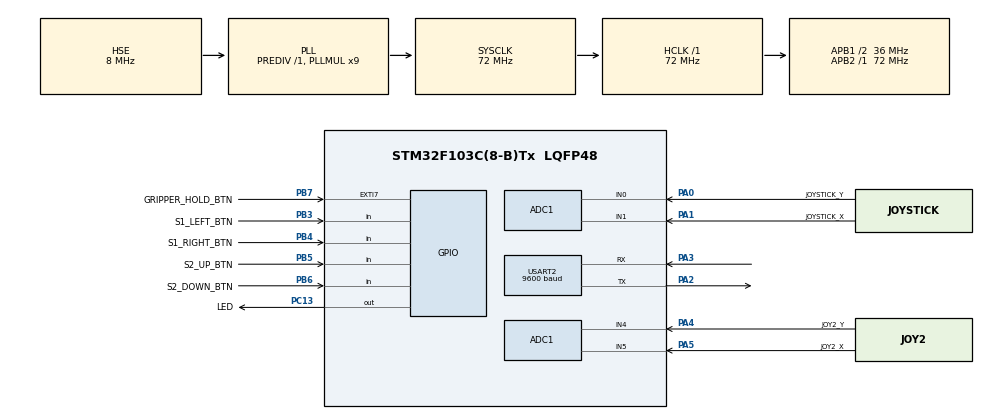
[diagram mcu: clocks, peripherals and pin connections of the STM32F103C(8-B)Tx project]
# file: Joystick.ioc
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ADC1.Channel-0\#ChannelRegularConversion=ADC_CHANNEL_1
ADC1.NbrOfConversionFlag=1
ADC1.Rank-0\#ChannelRegularConversion=1
ADC1.SamplingTime-0\#ChannelRegularConversion=ADC_SAMPLETIME_1CYCLE_5
ADC1.master=1
Mcu.Family=STM32F1
Mcu.Name=STM32F103C(8-B)Tx
Mcu.Package=LQFP48
NVIC.EXTI9_5_IRQn=true\:0\:0\:false\:false\:true\:true\:true\:true
NVIC.PriorityGroup=NVIC_PRIORITYGROUP_4
NVIC.USART2_IRQn=true\:0\:0\:false\:false\:true\:true\:true\:true
PA0-WKUP.GPIO_Label=JOYSTICK_Y
PA0-WKUP.Signal=ADCx_IN0
PA1.GPIO_Label=JOYSTICK_X
PA1.Signal=ADCx_IN1
PA13.Mode=Serial_Wire
PA13.Signal=SYS_JTMS-SWDIO
PA14.Mode=Serial_Wire
PA14.Signal=SYS_JTCK-SWCLK
PA2.Mode=Asynchronous
PA2.Signal=USART2_TX
PA3.Mode=Asynchronous
PA3.Signal=USART2_RX
PA4.GPIO_Label=JOY2_Y
PA4.Signal=ADCx_IN4
PA5.GPIO_Label=JOY2_X
PA5.Signal=ADCx_IN5
PB3.GPIO_Label=S1_LEFT_BTN
PB3.GPIO_PuPd=GPIO_PULLUP
PB3.Signal=GPIO_Input
PB4.GPIO_Label=S1_RIGHT_BTN
PB4.GPIO_PuPd=GPIO_PULLUP
PB4.Signal=GPIO_Input
PB5.GPIO_Label=S2_UP_BTN
PB5.GPIO_PuPd=GPIO_PULLUP
PB5.Signal=GPIO_Input
PB6.GPIO_Label=S2_DOWN_BTN
PB6.GPIO_PuPd=GPIO_PULLUP
PB6.Signal=GPIO_Input
PB7.GPIO_Label=GRIPPER_HOLD_BTN
PB7.GPIO_PuPd=GPIO_PULLUP
PB7.Signal=GPXTI7
PC13-TAMPER-RTC.GPIO_Label=LED
PC13-TAMPER-RTC.Signal=GPIO_Output
PD0-OSC_IN.Mode=HSE-External-Oscillator
PD0-OSC_IN.Signal=RCC_OSC_IN
PD1-OSC_OUT.Mode=HSE-External-Oscillator
PD1-OSC_OUT.Signal=RCC_OSC_OUT
ProjectManager.HeapSize=0x200
ProjectManager.StackSize=0x400
ProjectManager.TargetToolchain=STM32CubeIDE
RCC.ADCPresc=RCC_ADCPCLK2_DIV6
RCC.AHBFreq_Value=72000000
RCC.APB1CLKDivider=RCC_HCLK_DIV2
RCC.APB1Freq_Value=36000000
RCC.APB1TimFreq_Value=72000000
RCC.APB2Freq_Value=72000000
RCC.APB2TimFreq_Value=72000000
RCC.HCLKFreq_Value=72000000
RCC.PLLMUL=RCC_PLL_MUL9
RCC.PLLSourceVirtual=RCC_PLLSOURCE_HSE
RCC.SYSCLKFreq_VALUE=72000000
RCC.SYSCLKSource=RCC_SYSCLKSOURCE_PLLCLK
RCC.USBFreq_Value=72000000
SH.ADCx_IN0.0=ADC1_IN0,IN0
SH.ADCx_IN1.0=ADC1_IN1,IN1
SH.ADCx_IN4.0=ADC1_IN4,IN4
SH.ADCx_IN5.0=ADC1_IN5,IN5
USART2.BaudRate=9600
USART2.VirtualMode=VM_ASYNC
board=custom

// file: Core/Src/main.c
/* USER CODE BEGIN Header */
/**
  ******************************************************************************
  * @file           : main.c
  * @brief          : Main program body
  ******************************************************************************
  * @attention
  *
  * Copyright (c) 2025 STMicroelectronics.
  * All rights reserved.
  *
  * This software is licensed under terms that can be found in the LICENSE file
  * in the root directory of this software component.
  * If no LICENSE file comes with this software, it is provided AS-IS.
  *
  ******************************************************************************
  */
/* USER CODE END Header */
#include "main.h"

/* USER CODE BEGIN Includes */
#include <stdbool.h>
#include <string.h>
#include <stdio.h>
/* USER CODE END Includes */

ADC_HandleTypeDef hadc1;

UART_HandleTypeDef huart2;

/* USER CODE BEGIN PV */
// Joystick 1 (điều khiển xe)
uint16_t adc_joy1_y_val;
uint16_t adc_joy1_x_val;
char car_command = 'S';
char last_car_command = ' ';

// Joystick 2 (điều khiển cánh tay)
uint16_t adc_joy2_y_val;
uint16_t adc_joy2_x_val;

// Mảng lưu góc của 4 servo (0-180 độ)
uint8_t servo_angles[4] = {00, 30, 30, 00}; // Khởi tạo góc giữa cho các servo
uint8_t last_servo_angles[4] = {0, 0, 0, 0}; // Để kiểm tra thay đổi

// Tốc độ tăng/giảm góc servo khi nhấn nút
uint8_t servo_increment_speed = 4;

char servo_command_buffer[30];
// Biến cho nút giữ tay gắp(Interuppt)
volatile uint8_t gripper_hold_btn_flag = 0; // Cờ báo được bật bởi hàm ngắt
uint8_t gripper_hold_active = 0;          // Biến trạng thái được quản lý bởi main loop
int16_t servo4_held_angle = 90;           // Lưu góc của servo 4 khi giữ

// Biến dùng để chống dội bằng thời gian trong hàm ngắt
uint32_t last_interrupt_time = 0;
/* USER CODE END PV */

void SystemClock_Config(void);
static void MX_GPIO_Init(void);
static void MX_ADC1_Init(void);
static void MX_USART2_UART_Init(void);
/* USER CODE BEGIN PFP */
uint16_t read_adc_channel(uint32_t channel);
long map_value(long x, long in_min, long in_max, long out_min, long out_max);
void HAL_GPIO_EXTI_Callback(uint16_t GPIO_Pin);
/* USER CODE END PFP */

int main(void)
{

  /* MCU Configuration--------------------------------------------------------*/

  /* Reset of all peripherals, Initializes the Flash interface and the Systick. */
  HAL_Init();

  /* Configure the system clock */
  SystemClock_Config();

  /* Initialize all configured peripherals */
  MX_GPIO_Init();
  MX_ADC1_Init();
  MX_USART2_UART_Init();
  /* USER CODE BEGIN 2 */
  char* msg_controller_ready = "Controller V3 Ready (2 Joysticks)\r\n";
  HAL_StatusTypeDef tx_status; // Khai báo biến để lưu trạng thái
  HAL_GPIO_WritePin(GPIOC, GPIO_PIN_13, GPIO_PIN_RESET); // LED ON
  tx_status =  HAL_UART_Transmit(&huart2, (uint8_t*)msg_controller_ready, strlen(msg_controller_ready), HAL_MAX_DELAY);
  if (tx_status == HAL_OK) {
      // Gửi thành công(Tắt LED
       HAL_GPIO_WritePin(GPIOC, GPIO_PIN_13, GPIO_PIN_SET); // LED OFF
  } else {
      // Gửi thất bại(Giữ LED sáng hoặc cho nháy nhanh để báo lỗi)
      while(1) {
          HAL_GPIO_TogglePin(GPIOC, GPIO_PIN_13);
          HAL_Delay(100);
      }
  }
    // Gửi trạng thái servo ban đầu một lần
    sprintf(servo_command_buffer, "V%03d%03d%03d%03d\n", servo_angles[0], servo_angles[1], servo_angles[2], servo_angles[3]);
    HAL_UART_Transmit(&huart2, (uint8_t*)servo_command_buffer, strlen(servo_command_buffer), 100);
    memcpy(last_servo_angles, servo_angles, sizeof(servo_angles)); // Cập nhật trạng thái đã gửi
  /* USER CODE END 2 */

  /* Infinite loop */
  /* USER CODE BEGIN WHILE */
  while (1)
  {
	  // 0. KIỂM TRA VÀ XỬ LÝ CỜ BÁO TỪ NGẮT NÚT NHẤN
	     if (gripper_hold_btn_flag) {
	         gripper_hold_btn_flag = 0; // Hạ cờ ngay để tránh xử lý nhiều lần
	         HAL_UART_Transmit(&huart2, (uint8_t*)"Gripper Hold: OFF\r\n", 19, 100);

	         // Đảo trạng thái giữ của tay gắp
	         gripper_hold_active = !gripper_hold_active;

	         if (gripper_hold_active) {
	        	 HAL_GPIO_TogglePin(GPIOC,LED_Pin);
	        	 HAL_UART_Transmit(&huart2, (uint8_t*)"Gripper Hold: ON\r\n", 18, 100);
	             // Khi BẬT chế độ giữ, lưu lại góc hiện tại của Servo 4
	             servo4_held_angle = servo_angles[3];
	         }
	         // Khi TẮT, servo 4 sẽ tự động nhận giá trị từ joystick ở logic bên dưới
	     }

	  // 1. Đọc Joystick 1 và gửi lệnh điều khiển xe
	  adc_joy1_y_val = read_adc_channel(ADC_CHANNEL_0); // JOY1_Y (PA0)
	  adc_joy1_x_val = read_adc_channel(ADC_CHANNEL_1); // JOY1_X (PA1)

	  uint16_t dead_zone_low = 800;
	  uint16_t dead_zone_high = 3200;
	  char current_car_cmd_temp = 'S';
	  if (adc_joy1_y_val > dead_zone_high)
		  {
		  	  current_car_cmd_temp = 'F';
		  	  HAL_GPIO_TogglePin(GPIOC, LED_Pin);
		  }
	  else if (adc_joy1_y_val < dead_zone_low)
		  {
		  current_car_cmd_temp = 'B';
		  HAL_GPIO_TogglePin(GPIOC, LED_Pin);
		  }
	  else if (adc_joy1_x_val > dead_zone_high)
		  {
		  current_car_cmd_temp = 'R';
		  HAL_GPIO_TogglePin(GPIOC, LED_Pin);
		  }
	  else if (adc_joy1_x_val < dead_zone_low)
		  {
		  current_car_cmd_temp = 'L';
		  HAL_GPIO_TogglePin(GPIOC, LED_Pin);
		  }

	  if (current_car_cmd_temp != car_command) {
	       car_command = current_car_cmd_temp;
	  }

	  if (car_command != last_car_command) {
	    char car_cmd_str_to_send[3]; // Đủ cho 'F', '\n', '\0'
	    sprintf(car_cmd_str_to_send, "%c\n", car_command);
	    HAL_UART_Transmit(&huart2, (uint8_t*)car_cmd_str_to_send, strlen(car_cmd_str_to_send), HAL_MAX_DELAY);
	    last_car_command = car_command;
	    HAL_Delay(100);
	  }

	  // 2. XỬ LÝ NÚT NHẤN CHO SERVO 1 & 2
	    // Servo 1 (Đế xoay)
	    if (HAL_GPIO_ReadPin(S1_LEFT_BTN_GPIO_Port, S1_LEFT_BTN_Pin) == GPIO_PIN_RESET) { // Nhấn nút Quay Trái
	        if (servo_angles[0] > 0) { // Nếu chưa phải góc nhỏ nhất
	            servo_angles[0] -= servo_increment_speed;
	        }
	    }
	    if (HAL_GPIO_ReadPin(S1_RIGHT_BTN_GPIO_Port, S1_RIGHT_BTN_Pin) == GPIO_PIN_RESET) { // Nhấn nút Quay Phải
	        if (servo_angles[0] < 180) { // Nếu chưa phải góc lớn nhất
	            servo_angles[0] += servo_increment_speed;
	        }
	    }

	    // Servo 2 (Khớp vai)
	    if (HAL_GPIO_ReadPin(S2_UP_BTN_GPIO_Port, S2_UP_BTN_Pin) == GPIO_PIN_RESET) { // Nhấn nút Lên
	        if (servo_angles[1] < 180) {
	            servo_angles[1] += servo_increment_speed;
	        }
	    }
	    if (HAL_GPIO_ReadPin(S2_DOWN_BTN_GPIO_Port, S2_DOWN_BTN_Pin) == GPIO_PIN_RESET) { // Nhấn nút Xuống
	        if (servo_angles[1] > 0) {
	            servo_angles[1] -= servo_increment_speed;
	        }
	    }

	    // Giới hạn giá trị servo_angles[0] và [1] trong khoảng 0-180 (đề phòng)
	    if(servo_angles[0] < 0) servo_angles[0] = 0;
	    if(servo_angles[0] > 180) servo_angles[0] = 180;
	    if(servo_angles[1] < 0) servo_angles[1] = 0;
	    if(servo_angles[1] > 180) servo_angles[1] = 180;

	    // 3. Đọc Joystick 2 để điều khiển Servo 3 & 4
	    adc_joy2_y_val = read_adc_channel(ADC_CHANNEL_4); // JS2_Y (PA4)
	    adc_joy2_x_val = read_adc_channel(ADC_CHANNEL_5); // JS2_X (PA5)

	    // Servo 3 (Khớp khuỷu) được điều khiển bởi trục Y của JS2
	    servo_angles[2] = map_value(adc_joy2_y_val, 0, 4095, 0, 180);

	    // Servo 4 (Tay gắp) được điều khiển bởi trục X của JS2
	    servo_angles[3] = map_value(adc_joy2_x_val, 0, 4095, 30, 120); // Ví dụ dải góc cho tay gắp
	    if(servo_angles[3] > 40) servo_angles[3] = 40;
	    if(servo_angles[3] < 0) servo_angles[3] = 00;

	       // CẬP NHẬT SERVO 4 (TAY GẮP) DỰA TRÊN TRẠNG THÁI GIỮ
	       if (gripper_hold_active) {
	           servo_angles[3] = servo4_held_angle; // Sử dụng góc đã lưu
	       } else {
	           servo_angles[3] = map_value(adc_joy2_x_val, 0, 4095, 30, 120); // Điều khiển bằng joystick
	       }
	       if(servo_angles[3] > 40) servo_angles[3] = 40;
	       if(servo_angles[3] < 0) servo_angles[3] = 00;

	    // 4. Gửi lệnh servo nếu có bất kỳ góc nào thay đổi (logic này giữ nguyên)
	    bool servo_data_changed = false;
	    for (int i = 0; i < 4; i++) {
	        // Ép kiểu về uint8_t để so sánh với last_servo_angles
	        if ((uint8_t)servo_angles[i] != last_servo_angles[i]) {
	            servo_data_changed = true;
	            break;
	        }
	    }

	    if (servo_data_changed) {
	        // Ép kiểu về uint8_t khi gửi đi để đảm bảo đúng định dạng %03d
	        sprintf(servo_command_buffer, "V%03u%03u%03u%03u\n",
	                (uint8_t)servo_angles[0], (uint8_t)servo_angles[1],
	                (uint8_t)servo_angles[2], (uint8_t)servo_angles[3]);
	        HAL_UART_Transmit(&huart2, (uint8_t*)servo_command_buffer, strlen(servo_command_buffer), 100);

	        // Cập nhật mảng last_servo_angles
	        for (int i=0; i<4; i++) {
	            last_servo_angles[i] = (uint8_t)servo_angles[i];
	        }
	    }
	  // Logic gửi lệnh 'S' cho xe nếu không có input (giữ nguyên hoặc tùy chỉnh)
	  if (car_command == 'S' && last_car_command != 'S' && !servo_data_changed) {
	       HAL_UART_Transmit(&huart2, (uint8_t*)&car_command, 3, HAL_MAX_DELAY);
	       last_car_command = car_command;
	  }

	  HAL_Delay(50);

    /* USER CODE END WHILE */

  }
}

void SystemClock_Config(void)
{
  RCC_OscInitTypeDef RCC_OscInitStruct = {0};
  RCC_ClkInitTypeDef RCC_ClkInitStruct = {0};
  RCC_PeriphCLKInitTypeDef PeriphClkInit = {0};

  /** Initializes the RCC Oscillators according to the specified parameters
  * in the RCC_OscInitTypeDef structure.
  */
  RCC_OscInitStruct.OscillatorType = RCC_OSCILLATORTYPE_HSE;
  RCC_OscInitStruct.HSEState = RCC_HSE_ON;
  RCC_OscInitStruct.HSEPredivValue = RCC_HSE_PREDIV_DIV1;
  RCC_OscInitStruct.HSIState = RCC_HSI_ON;
  RCC_OscInitStruct.PLL.PLLState = RCC_PLL_ON;
  RCC_OscInitStruct.PLL.PLLSource = RCC_PLLSOURCE_HSE;
  RCC_OscInitStruct.PLL.PLLMUL = RCC_PLL_MUL9;
  if (HAL_RCC_OscConfig(&RCC_OscInitStruct) != HAL_OK)
  {
    Error_Handler();
  }

  /** Initializes the CPU, AHB and APB buses clocks
  */
  RCC_ClkInitStruct.ClockType = RCC_CLOCKTYPE_HCLK|RCC_CLOCKTYPE_SYSCLK
                              |RCC_CLOCKTYPE_PCLK1|RCC_CLOCKTYPE_PCLK2;
  RCC_ClkInitStruct.SYSCLKSource = RCC_SYSCLKSOURCE_PLLCLK;
  RCC_ClkInitStruct.AHBCLKDivider = RCC_SYSCLK_DIV1;
  RCC_ClkInitStruct.APB1CLKDivider = RCC_HCLK_DIV2;
  RCC_ClkInitStruct.APB2CLKDivider = RCC_HCLK_DIV1;

  if (HAL_RCC_ClockConfig(&RCC_ClkInitStruct, FLASH_LATENCY_2) != HAL_OK)
  {
    Error_Handler();
  }
  PeriphClkInit.PeriphClockSelection = RCC_PERIPHCLK_ADC;
  PeriphClkInit.AdcClockSelection = RCC_ADCPCLK2_DIV6;
  if (HAL_RCCEx_PeriphCLKConfig(&PeriphClkInit) != HAL_OK)
  {
    Error_Handler();
  }
}

static void MX_ADC1_Init(void)
{

  ADC_ChannelConfTypeDef sConfig = {0};

  /** Common config
  */
  hadc1.Instance = ADC1;
  hadc1.Init.ScanConvMode = ADC_SCAN_DISABLE;
  hadc1.Init.ContinuousConvMode = DISABLE;
  hadc1.Init.DiscontinuousConvMode = DISABLE;
  hadc1.Init.ExternalTrigConv = ADC_SOFTWARE_START;
  hadc1.Init.DataAlign = ADC_DATAALIGN_RIGHT;
  hadc1.Init.NbrOfConversion = 1;
  if (HAL_ADC_Init(&hadc1) != HAL_OK)
  {
    Error_Handler();
  }

  /** Configure Regular Channel
  */
  sConfig.Channel = ADC_CHANNEL_1;
  sConfig.Rank = ADC_REGULAR_RANK_1;
  sConfig.SamplingTime = ADC_SAMPLETIME_1CYCLE_5;
  if (HAL_ADC_ConfigChannel(&hadc1, &sConfig) != HAL_OK)
  {
    Error_Handler();
  }

}

static void MX_USART2_UART_Init(void)
{

  huart2.Instance = USART2;
  huart2.Init.BaudRate = 9600;
  huart2.Init.WordLength = UART_WORDLENGTH_8B;
  huart2.Init.StopBits = UART_STOPBITS_1;
  huart2.Init.Parity = UART_PARITY_NONE;
  huart2.Init.Mode = UART_MODE_TX_RX;
  huart2.Init.HwFlowCtl = UART_HWCONTROL_NONE;
  huart2.Init.OverSampling = UART_OVERSAMPLING_16;
  if (HAL_UART_Init(&huart2) != HAL_OK)
  {
    Error_Handler();
  }

}

static void MX_GPIO_Init(void)
{
  GPIO_InitTypeDef GPIO_InitStruct = {0};

  /* GPIO Ports Clock Enable */
  __HAL_RCC_GPIOC_CLK_ENABLE();
  __HAL_RCC_GPIOD_CLK_ENABLE();
  __HAL_RCC_GPIOA_CLK_ENABLE();
  __HAL_RCC_GPIOB_CLK_ENABLE();

  /*Configure GPIO pin Output Level */
  HAL_GPIO_WritePin(LED_GPIO_Port, LED_Pin, GPIO_PIN_RESET);

  /*Configure GPIO pin : LED_Pin */
  GPIO_InitStruct.Pin = LED_Pin;
  GPIO_InitStruct.Mode = GPIO_MODE_OUTPUT_PP;
  GPIO_InitStruct.Pull = GPIO_NOPULL;
  GPIO_InitStruct.Speed = GPIO_SPEED_FREQ_LOW;
  HAL_GPIO_Init(LED_GPIO_Port, &GPIO_InitStruct);

  /*Configure GPIO pins : S1_LEFT_BTN_Pin S1_RIGHT_BTN_Pin S2_UP_BTN_Pin S2_DOWN_BTN_Pin */
  GPIO_InitStruct.Pin = S1_LEFT_BTN_Pin|S1_RIGHT_BTN_Pin|S2_UP_BTN_Pin|S2_DOWN_BTN_Pin;
  GPIO_InitStruct.Mode = GPIO_MODE_INPUT;
  GPIO_InitStruct.Pull = GPIO_PULLUP;
  HAL_GPIO_Init(GPIOB, &GPIO_InitStruct);

  /*Configure GPIO pin : GRIPPER_HOLD_BTN_Pin */
  GPIO_InitStruct.Pin = GRIPPER_HOLD_BTN_Pin;
  GPIO_InitStruct.Mode = GPIO_MODE_IT_RISING;
  GPIO_InitStruct.Pull = GPIO_PULLUP;
  HAL_GPIO_Init(GRIPPER_HOLD_BTN_GPIO_Port, &GPIO_InitStruct);

  /* EXTI interrupt init*/
  HAL_NVIC_SetPriority(EXTI9_5_IRQn, 0, 0);
  HAL_NVIC_EnableIRQ(EXTI9_5_IRQn);

}

/* USER CODE BEGIN 4 */
long map_value(long x, long in_min, long in_max, long out_min, long out_max) {
  return (x - in_min) * (out_max - out_min) / (in_max - in_min) + out_min;
}

// Hàm read_adc_channel vẫn giữ nguyên như trước
uint16_t read_adc_channel(uint32_t channel) {
    ADC_ChannelConfTypeDef sConfig = {0};
    sConfig.Channel = channel;
    sConfig.Rank = ADC_REGULAR_RANK_1;
    sConfig.SamplingTime = ADC_SAMPLETIME_71CYCLES_5; // Hoặc thời gian lấy mẫu khác

    if (HAL_ADC_ConfigChannel(&hadc1, &sConfig) != HAL_OK) {
        Error_Handler();
    }

    HAL_ADC_Start(&hadc1);
    HAL_ADC_PollForConversion(&hadc1, 100);
    uint16_t adc_value = HAL_ADC_GetValue(&hadc1);
    HAL_ADC_Stop(&hadc1);

    return adc_value;
}
// Hàm callback sẽ được gọi mỗi khi có ngắt ngoài từ một chân GPIO
void HAL_GPIO_EXTI_Callback(uint16_t GPIO_Pin)
{
  // Kiểm tra xem ngắt có phải từ chân nút giữ tay gắp không
  if (GPIO_Pin == GRIPPER_HOLD_BTN_Pin) // GRIPPER_HOLD_BTN_Pin được CubeMX tự định nghĩa trong main.h
  {
    // Kỹ thuật chống dội bằng thời gian (non-blocking)
    uint32_t current_time = HAL_GetTick();
    if (current_time - last_interrupt_time > 250) // Chỉ chấp nhận ngắt mới sau 250ms
    {
      // Đây là một lần nhấn hợp lệ, chỉ cần đặt cờ báo cho vòng lặp main xử lý
      gripper_hold_btn_flag = 1;

      last_interrupt_time = current_time; // Cập nhật thời gian của lần nhấn hợp lệ
    }
  }
}
/* USER CODE END 4 */

void Error_Handler(void)
{
  __disable_irq();
  while (1)
  {
  }
}
